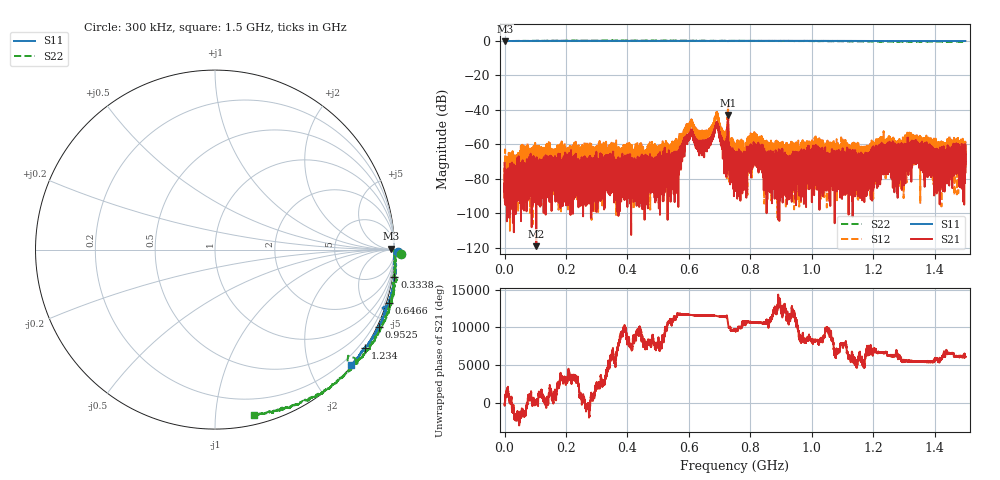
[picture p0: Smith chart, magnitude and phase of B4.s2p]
!Agilent Technologies,N5230C,SG49000117,A.08.50.07
!Agilent N5230C: A.08.50.07
!Date: Thursday, December 07, 2023 05:12:53
!Correction: S11(Full 2 Port(1,2))
!S21(Full 2 Port(1,2))
!S12(Full 2 Port(1,2))
!S22(Full 2 Port(1,2))
!S2P File: Measurements: S11, S21, S12, S22:
# Hz S  RI  R 50
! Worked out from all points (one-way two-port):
!   20001 points, 300 kHz to 1.5 GHz, reference 50 ohm
!   highest |S21| = -42.96 dB at 727.2 MHz (marker M1); lowest = -119.2 dB at 103.3 MHz (marker M2)
!   lowest |S11| = -0.2 dB at 749.9 kHz (marker M3), VSWR 93.33, Z = 4.37e+03 + j1.14e+03 ohm
!   |S11| at or under -10 dB: nowhere
!   |S22| runs from -0.6 to 0.3 dB; largest |S21 - S12| = 0.0079
!   S11 on the Smith chart (normalised r, x): 300 kHz: open; 333.8 MHz: -1, -13; 646.6 MHz: -0.27, -6.66; 952.5 MHz: -0.09, -4.43; 1.234 GHz: 0.01, -3.36; 1.5 GHz: 0.02, -2.74
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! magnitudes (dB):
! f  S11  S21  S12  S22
! 300 kHz  0.1  -71.0  -75.2  0.3
! 749.9 kHz  -0.2  -87.9  -72.7  -0.6
! 103.3 MHz  0.0  -119.2  -67.3  0.1
! 250.3 MHz  0.1  -71.0  -77.4  0.2
! 333.8 MHz  0.1  -81.2  -76.0  0.2
! 500.2 MHz  0.1  -71.8  -63.4  0.2
! 558.3 MHz  0.1  -68.6  -56.8  0.1
! 605.5 MHz  0.1  -53.9  -47.4  0.1
! 646.6 MHz  0.1  -62.1  -55.0  0.1
! 690 MHz  0.1  -47.2  -41.8  0.0
! 714.6 MHz  0.1  -60.0  -56.3  0.1
! 727.2 MHz  -0.1  -43.0  -37.7  -0.4
! 750.1 MHz  0.1  -68.3  -65.7  0.1
! 783.4 MHz  0.1  -69.6  -69.4  0.0
! 813.4 MHz  0.1  -63.0  -57.8  0.0
! 853.5 MHz  0.1  -70.1  -60.3  0.0
! 952.5 MHz  0.1  -75.0  -72.7  0.0
! 1 GHz  0.1  -64.9  -64.9  0.0
! 1.164 GHz  0.0  -75.2  -71.1  -0.2
! 1.234 GHz  0.0  -65.9  -61.0  -0.3
! 1.25 GHz  0.0  -60.6  -55.6  -0.3
! 1.5 GHz  0.0  -65.4  -62.2  -0.5
